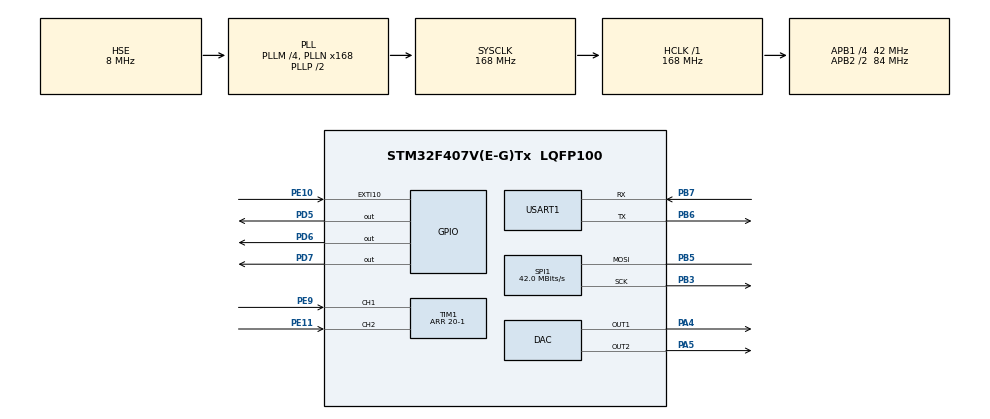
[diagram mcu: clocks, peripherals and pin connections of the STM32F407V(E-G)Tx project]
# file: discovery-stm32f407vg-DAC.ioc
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Mcu.Family=STM32F4
VP_TIM5_VS_ClockSourceINT.Mode=Internal
PH0-OSC_IN.Signal=RCC_OSC_IN
RCC.CortexFreq_Value=168000000
SPI1.VirtualType=VM_MASTER
Dma.DAC2.1.PeriphInc=DMA_PINC_DISABLE
PE10.GPIO_PuPd=GPIO_PULLDOWN
RCC.SYSCLKSource=RCC_SYSCLKSOURCE_PLLCLK
ProjectManager.StackSize=0x400
SH.COMP_DAC2_group.0=DAC_OUT2,DAC_OUT2
VP_TIM7_VS_ClockSourceINT.Mode=Enable_Timer
SPI1.Direction=SPI_DIRECTION_1LINE
RCC.HCLKFreq_Value=168000000
Dma.DAC1.0.PeriphInc=DMA_PINC_DISABLE
RCC.APB2TimFreq_Value=168000000
PB6.Signal=USART1_TX
PB6.Mode=Asynchronous
SPI1.CalculateBaudRate=42.0 MBits/s
TIM2.ClockDivision=TIM_CLOCKDIVISION_DIV2
Dma.DAC1.0.Direction=DMA_MEMORY_TO_PERIPH
RCC.AHBFreq_Value=168000000
PH0-OSC_IN.Mode=HSE-External-Oscillator
NVIC.EXTI15_10_IRQn=true\:0\:0\:false\:false\:true\:true\:true
RCC.HSE_VALUE=8000000
PB3.Mode=Simplex_Bidirectional_Master
DAC.DAC_Trigger2=DAC_TRIGGER_T5_TRGO
Dma.DAC1.0.Priority=DMA_PRIORITY_HIGH
DAC.DAC_Trigger=DAC_TRIGGER_T2_TRGO
Dma.DAC1.0.FIFOMode=DMA_FIFOMODE_DISABLE
PE9.Signal=S_TIM1_CH1
PA14.Mode=Serial_Wire
PB5.Mode=Simplex_Bidirectional_Master
SPI1.DataSize=SPI_DATASIZE_8BIT
PB7.Signal=USART1_RX
PE10.Signal=GPXTI10
Dma.DAC2.1.Instance=DMA1_Stream6
PH1-OSC_OUT.Mode=HSE-External-Oscillator
Mcu.Package=LQFP100
TIM2.Prescaler=1
Dma.DAC1.0.PeriphDataAlignment=DMA_PDATAALIGN_WORD
Dma.DAC1.0.Mode=DMA_CIRCULAR
TIM7.AutoReloadPreload=TIM_AUTORELOAD_PRELOAD_ENABLE
TIM2.TIM_MasterOutputTrigger=TIM_TRGO_UPDATE
RCC.APB2CLKDivider=RCC_HCLK_DIV2
Dma.Request1=DAC2
RCC.APB1TimFreq_Value=84000000
TIM1.Period=20-1
NVIC.USART1_IRQn=true\:0\:0\:false\:false\:true\:true\:true
PD6.Signal=GPIO_Output
NVIC.DMA1_Stream6_IRQn=true\:0\:0\:false\:false\:true\:false\:true
Dma.Request0=DAC1
SPI1.BaudRatePrescaler=SPI_BAUDRATEPRESCALER_2
Dma.DAC2.1.MemDataAlignment=DMA_MDATAALIGN_WORD
RCC.PLLSourceVirtual=RCC_PLLSOURCE_HSE
SH.COMP_DAC1_group.0=DAC_OUT1,DAC_OUT1
Dma.DAC1.0.Instance=DMA1_Stream5
Dma.DAC2.1.FIFOMode=DMA_FIFOMODE_DISABLE
PD7.Signal=GPIO_Output
PD5.Signal=GPIO_Output
Dma.DAC2.1.Priority=DMA_PRIORITY_HIGH
RCC.APB1CLKDivider=RCC_HCLK_DIV4
Dma.DAC1.0.MemDataAlignment=DMA_MDATAALIGN_WORD
PA13.Signal=SYS_JTMS-SWDIO
TIM5.TIM_MasterOutputTrigger=TIM_TRGO_UPDATE
PE10.GPIO_ModeDefaultEXTI=GPIO_MODE_IT_FALLING
SH.S_TIM1_CH1.0=TIM1_CH1,Encoder_Interface
ProjectManager.TargetToolchain=STM32CubeIDE
NVIC.DMA1_Stream5_IRQn=true\:0\:0\:false\:false\:true\:false\:true
PE11.Signal=S_TIM1_CH2
RCC.LSE_VALUE=32768
PA5.Signal=COMP_DAC2_group
TIM7.Prescaler=65535-1
board=custom
RCC.VCOOutputFreq_Value=336000000
RCC.APB2Freq_Value=84000000
Dma.DAC2.1.PeriphDataAlignment=DMA_PDATAALIGN_WORD
SH.S_TIM1_CH2.0=TIM1_CH2,Encoder_Interface
VP_TIM2_VS_ClockSourceINT.Mode=Internal
SPI1.Mode=SPI_MODE_MASTER
PH1-OSC_OUT.Signal=RCC_OSC_OUT
TIM2.Period=1
PA13.Mode=Serial_Wire
Mcu.Name=STM32F407V(E-G)Tx
Dma.DAC2.1.Direction=DMA_MEMORY_TO_PERIPH
RCC.48MHZClocksFreq_Value=84000000
PB3.Signal=SPI1_SCK
PA4.Signal=COMP_DAC1_group
RCC.SYSCLKFreq_VALUE=168000000
PB5.Signal=SPI1_MOSI
Dma.DAC1.0.MemInc=DMA_MINC_ENABLE
TIM5.Prescaler=1
USART1.VirtualMode=VM_ASYNC
PB7.Mode=Asynchronous
PA14.Signal=SYS_JTCK-SWCLK
ProjectManager.HeapSize=0x200
Dma.DAC2.1.Mode=DMA_CIRCULAR
RCC.HSI_VALUE=16000000
NVIC.PriorityGroup=NVIC_PRIORITYGROUP_4
RCC.PLLM=4
RCC.PLLN=168
TIM2.TIM_MasterSlaveMode=TIM_MASTERSLAVEMODE_DISABLE
TIM2.AutoReloadPreload=TIM_AUTORELOAD_PRELOAD_ENABLE
TIM5.Period=1
DAC.WaveGeneration2=DISABLE
Dma.DAC2.1.MemInc=DMA_MINC_ENABLE
RCC.APB1Freq_Value=42000000

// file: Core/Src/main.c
/* USER CODE BEGIN Header */
/**
  ******************************************************************************
  * @file           : main.c
  * @brief          : Main program body
  ******************************************************************************
  * @attention
  *
  * <h2><center>&copy; Copyright (c) 2021 STMicroelectronics.
  * All rights reserved.</center></h2>
  *
  * This software component is licensed by ST under BSD 3-Clause license,
  * the "License"; You may not use this file except in compliance with the
  * License. You may obtain a copy of the License at:
  *                        opensource.org/licenses/BSD-3-Clause
  *
  ******************************************************************************
  */
/* USER CODE END Header */
#include "main.h"
#include "dac.h"
#include "dma.h"
#include "spi.h"
#include "tim.h"
#include "usart.h"
#include "gpio.h"

/* USER CODE BEGIN Includes */
#include <system.h>
#include "waveform_gen.h"
#include "menu_definition.h"

/* USER CODE END Includes */

/* USER CODE BEGIN PD */
#define  UART1_rxBuffer_len  12

/* USER CODE END PD */

/* USER CODE BEGIN PV */
uint8_t UART1_rxBuffer[UART1_rxBuffer_len];
/* USER CODE END PV */

void SystemClock_Config(void);
/* USER CODE BEGIN PFP */
int32_t CALC_temperature(int32_t freq_in, int8_t direction, uint8_t dec);

void menu_encoder_event(void);

void HAL_UART_RxCpltCallback(UART_HandleTypeDef *huart);

/* USER CODE END PFP */

int main(void)
{
  /* USER CODE BEGIN 1 */
//  char buff[20];
//  uint32_t counter = 0;
  /* USER CODE END 1 */

  /* MCU Configuration--------------------------------------------------------*/

  /* Reset of all peripherals, Initializes the Flash interface and the Systick. */
  HAL_Init();

  /* Configure the system clock */
  SystemClock_Config();

  /* Initialize all configured peripherals */
  MX_GPIO_Init();
  MX_DMA_Init();
  MX_DAC_Init();
  MX_TIM7_Init();
  MX_TIM2_Init();
  MX_SPI1_Init();
  MX_USART1_UART_Init();
  MX_TIM5_Init();
  MX_TIM1_Init();
  /* USER CODE BEGIN 2 */

/* -------------------------------------------------------------------------------- */
/* -- TIMERS START -- */
/* -------------------------------------------------------------------------------- */
  HAL_TIM_Base_Start(&htim2);
  HAL_TIM_Base_Start(&htim5);
  HAL_TIM_Encoder_Start(&htim1, TIM_CHANNEL_ALL);

/* -------------------------------------------------------------------------------- */
/* -- CREATE ENCODER -- */
/* -------------------------------------------------------------------------------- */
  encoder_struct_init(&encoder_1, &htim1);

/* -------------------------------------------------------------------------------- */
/* -- LCD ST7735 SCREEN INIT -- */
/* -------------------------------------------------------------------------------- */
  ST7735_Init(1);

/* -------------------------------------------------------------------------------- */
/* -- MENU INIT -- */
/* -------------------------------------------------------------------------------- */
  GUI_init();
  Menu_Show();

/* -------------------------------------------------------------------------------- */
/* -- WAVEFORMS INIT -- */
/* -------------------------------------------------------------------------------- */
  calcsin();
  waveform_struct_init(&sine,&htim2,sine_val,N_s,1000,1,0);

  //HAL_Delay(500);
/* -------------------------------------------------------------------------------- */
/* -- DAC START -- */
/* -------------------------------------------------------------------------------- */

HAL_DAC_Start_DMA(&hdac, DAC_CHANNEL_1, sine_val, N_s, DAC_ALIGN_12B_R);

//HAL_DAC_Start_DMA(&hdac, DAC_CHANNEL_2, sine_val, N_s, DAC_ALIGN_12B_R);

// DEBUG
//  HAL_UART_Receive_DMA (&huart1, UART1_rxBuffer, UART1_rxBuffer_len); 	//handler located in main.c file
//  uint8_t data[] = "HELLO WORLD \r\n";
//  HAL_UART_Transmit (&huart2, data, sizeof (data), 10);

  /* USER CODE END 2 */

  /* Infinite loop */
  /* USER CODE BEGIN WHILE */
  while (1)
  {
	menu_encoder_event();

    /* USER CODE END WHILE */

  }
}

void SystemClock_Config(void)
{
  RCC_OscInitTypeDef RCC_OscInitStruct = {0};
  RCC_ClkInitTypeDef RCC_ClkInitStruct = {0};

  /** Configure the main internal regulator output voltage
  */
  __HAL_RCC_PWR_CLK_ENABLE();
  __HAL_PWR_VOLTAGESCALING_CONFIG(PWR_REGULATOR_VOLTAGE_SCALE1);
  /** Initializes the RCC Oscillators according to the specified parameters
  * in the RCC_OscInitTypeDef structure.
  */
  RCC_OscInitStruct.OscillatorType = RCC_OSCILLATORTYPE_HSE;
  RCC_OscInitStruct.HSEState = RCC_HSE_ON;
  RCC_OscInitStruct.PLL.PLLState = RCC_PLL_ON;
  RCC_OscInitStruct.PLL.PLLSource = RCC_PLLSOURCE_HSE;
  RCC_OscInitStruct.PLL.PLLM = 4;
  RCC_OscInitStruct.PLL.PLLN = 168;
  RCC_OscInitStruct.PLL.PLLP = RCC_PLLP_DIV2;
  RCC_OscInitStruct.PLL.PLLQ = 4;
  if (HAL_RCC_OscConfig(&RCC_OscInitStruct) != HAL_OK)
  {
    Error_Handler();
  }
  /** Initializes the CPU, AHB and APB buses clocks
  */
  RCC_ClkInitStruct.ClockType = RCC_CLOCKTYPE_HCLK|RCC_CLOCKTYPE_SYSCLK
                              |RCC_CLOCKTYPE_PCLK1|RCC_CLOCKTYPE_PCLK2;
  RCC_ClkInitStruct.SYSCLKSource = RCC_SYSCLKSOURCE_PLLCLK;
  RCC_ClkInitStruct.AHBCLKDivider = RCC_SYSCLK_DIV1;
  RCC_ClkInitStruct.APB1CLKDivider = RCC_HCLK_DIV4;
  RCC_ClkInitStruct.APB2CLKDivider = RCC_HCLK_DIV2;

  if (HAL_RCC_ClockConfig(&RCC_ClkInitStruct, FLASH_LATENCY_5) != HAL_OK)
  {
    Error_Handler();
  }
}

/* USER CODE BEGIN 4 */

void menu_encoder_event(void) {

	  if( encoder_step_clockwise(&encoder_1) == true) {
		Menu_SelectNext();

	  }
	  if(encoder_step_counterclockwise(&encoder_1) == true) {
		Menu_SelectPrev();
	  }
	  if(encoder_enter(&encoder_1) == true) {
	  		Menu_Click();
	   }
}

void HAL_UART_RxCpltCallback(UART_HandleTypeDef *huart) {

	static float result = 0;

			 switch(UART1_rxBuffer[1])
			 {
			 case 1:

				 for(int i=1; i<sizeof(UART1_rxBuffer); i++) {
					 result = result * 10 + ( UART1_rxBuffer[i]);
					 //----------------------
					 }
			     break;

			 case 2:

				 for(int i=1; i<sizeof(UART1_rxBuffer); i++) {
					 result = result * 10 + ( UART1_rxBuffer[i]);
					 }
			     break;

			 default:
				 break;
			 }

		 HAL_UART_Receive_DMA(&huart1, UART1_rxBuffer, sizeof(UART1_rxBuffer)); // Ponowne włączenie nasłuchiwania

}
/* USER CODE END 4 */

void Error_Handler(void)
{
  __disable_irq();
  while (1)
  {
  }
}

/************************ (C) COPYRIGHT STMicroelectronics *****END OF FILE****/
